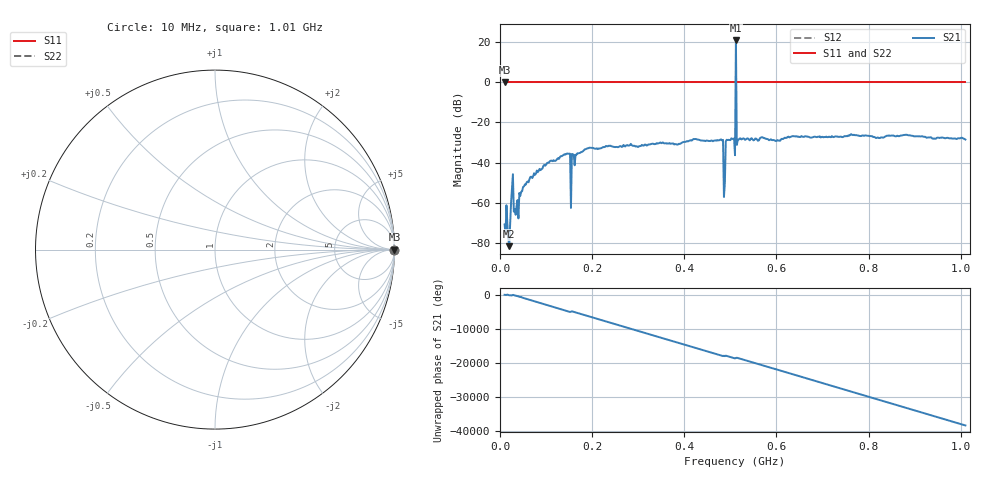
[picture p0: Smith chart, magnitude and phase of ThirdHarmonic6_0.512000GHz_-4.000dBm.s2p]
! 8/15/2025 3:36:30 PM
! C:\ANRITSUVNA\TEMP\TEMP.S2P
! CHANNEL.1
! TR.MEASUREMENT
! RAW.DATA
! RF.CORRECTION.OFF
! AVERAGING.OFF
! IF.BANDWIDTH: 5KHZ
! SWEEPTYPE:  FREQ.SWEEP(Linear)
! Reference Plane Port Info
! PORT:  PORT1  PORT2
! DISTANCE:  0  m  0  m
! TIME:  0  s  0  s
! PHASE.OFFSET:  0  deg.  0  deg.
! LOSS:  0  dB  0  dB
! REF.LOSS:  0  dB  0  dB
! REF.FREQ:  0  Hz  0  Hz
! Power Info
! POWER:  -20  dBm  -20  dBm
! EFF.POWER:  -20  dBm  -20  dBm
! SOURCE.ATTEN:  0  dB  0  dB
! TEST.ATTEN:  0  dB  0  dB
# GHZ S RI R 50.0
! FREQ.GHZ  S11RE  S11IM  S21RE  S21IM  S12RE  S12IM  S22RE  S22IM
!; PortSelection: Port_12
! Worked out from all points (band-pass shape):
!   501 points, 10 MHz to 1.01 GHz, reference 50 ohm
!   highest |S21| = 20.76 dB at 512 MHz (marker M1); lowest = -81.5 dB at 20 MHz (marker M2)
!   |S21| within 3 dB of the highest: 511.8948 MHz to 512.1156 MHz (220.8 kHz wide, 0.0431 % of centre)
!   lowest |S11| = 0.0 dB at 10 MHz (marker M3)
!   |S11| at or under -10 dB: nowhere
!   |S22| runs from 0.0 to 0.0 dB; largest |S21 - S12| = 11
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0.01  1 0  -0.000291 2.85e-05  1 0  1 0
0.02  1 0  6.9e-05 4.84e-05  1 0  1 0
0.028  1 0  -0.00475 0.00203  1 0  1 0
0.036  1 0  -0.000837 -9.46e-05  1 0  1 0
0.07  1 0  -0.00143 -0.0039  1 0  1 0
0.144  1 0  -0.00758 0.0148  1 0  1 0
0.158  1 0  -0.00102 -0.0162  1 0  1 0
0.178  1 0  -0.0184 -0.00295  1 0  1 0
0.344  1 0  0.0283 -0.0108  1 0  1 0
0.48  1 0  -0.000188 -0.0379  1 0  1 0
0.486  1 0  -0.00128 -0.00058  1 0  1 0
0.49  1 0  -0.0228 -0.0253  1 0  1 0
0.494  1 0  0.0139 0.0337  1 0  1 0
0.506  1 0  0.0235 -0.0306  1 0  1 0
0.508  1 0  -0.027 -0.0298  1 0  1 0
0.51  1 0  -0.0115 0.0102  1 0  1 0
0.512  1 0  0.0807 -10.92  1 0  1 0
0.516  1 0  -0.0053 -0.0362  1 0  1 0
0.518  1 0  -0.0375 -0.00227  1 0  1 0
0.678  1 0  -0.0293 -0.031  1 0  1 0
0.844  1 0  0.0432 0.0195  1 0  1 0
1.01  1 0  -0.0373 0.00529  1 0  1 0
